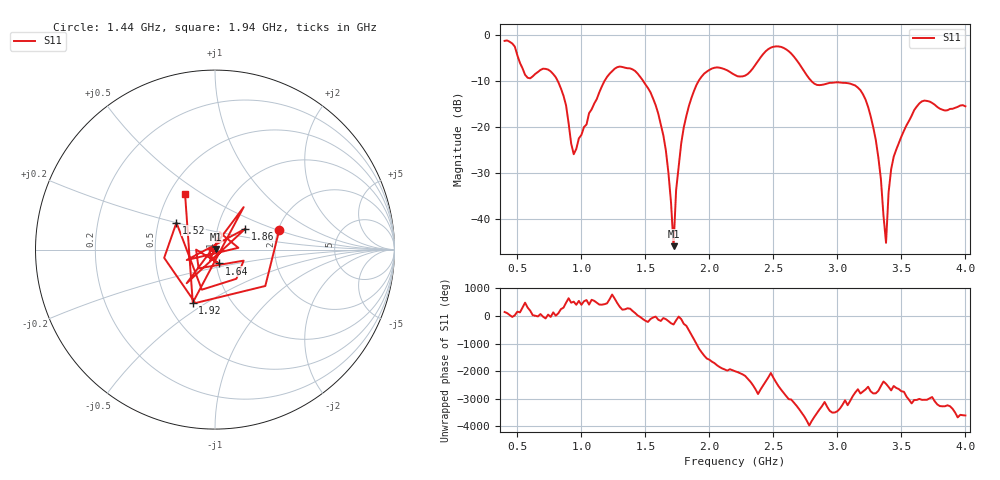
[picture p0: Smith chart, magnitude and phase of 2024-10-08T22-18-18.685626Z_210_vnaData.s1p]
! Created with skrf (http://scikit-rf.org).
# Hz S RI R 50.0
!freq ReS11 ImS11
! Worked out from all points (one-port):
!   181 points, 400 MHz to 4 GHz, reference 50 ohm
!   lowest |S11| = -46.0 dB at 1.72 GHz (marker M1), VSWR 1.01, Z = 50.3 + j0.402 ohm
!   |S11| at or under -10 dB: 813.1 MHz to 1.183 GHz (369.6 MHz wide, 37 % of centre); 1.481 GHz to 1.918 GHz (437 MHz wide, 25.7 % of centre); 2.793 GHz to end of sweep
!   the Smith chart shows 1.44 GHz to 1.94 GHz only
!   S11 on the Smith chart (normalised r, x): 1.44 GHz: 2.03, +0.52; 1.52 GHz: 0.62, +0.20; 1.64 GHz: 1.03, -0.16; 1.86 GHz: 1.36, +0.33; 1.92 GHz: 0.66, -0.44; 1.94 GHz: 0.60, +0.42
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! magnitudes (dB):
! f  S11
! 400 MHz  -1.4
! 580 MHz  -9.4
! 740 MHz  -7.6
! 860 MHz  -13.3
! 940 MHz  -26.0
! 1.3 GHz  -7.0
! 1.44 GHz  -8.5
! 1.52 GHz  -11.6
! 1.64 GHz  -21.9
! 1.68 GHz  -30.1
! 1.72 GHz  -46.0
! 1.74 GHz  -33.8
! 1.76 GHz  -28.7
! 1.86 GHz  -13.8
! 1.92 GHz  -9.9
! 1.94 GHz  -9.1
! 2.2 GHz  -8.8
! 2.5 GHz  -2.7
! 2.66 GHz  -4.8
! 2.84 GHz  -10.9
! 3.1 GHz  -10.7
! 3.28 GHz  -20.1
! 3.34 GHz  -31.4
! 3.38 GHz  -45.2
! 3.42 GHz  -29.3
! 3.56 GHz  -18.7
! 3.68 GHz  -14.3
! 4 GHz  -15.6
